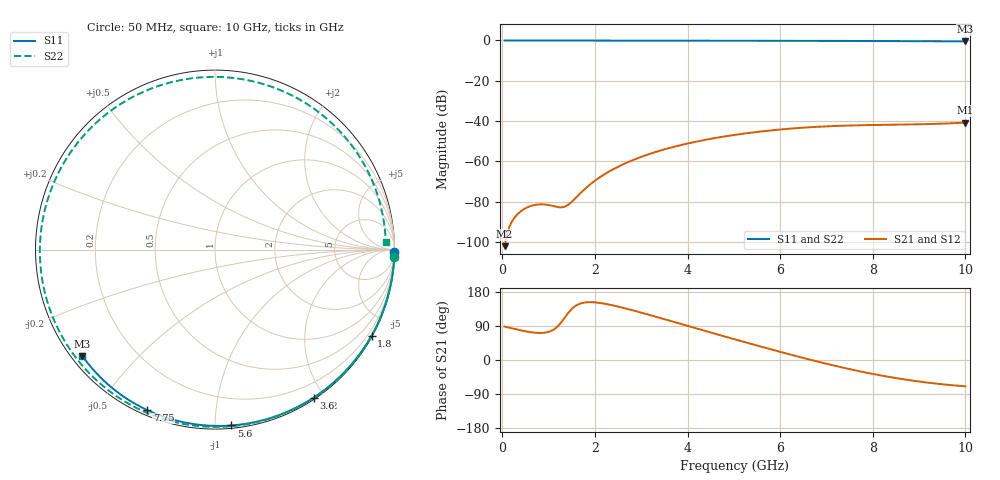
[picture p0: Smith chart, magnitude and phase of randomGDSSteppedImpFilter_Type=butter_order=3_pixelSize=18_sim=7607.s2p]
! freq	dB(S11)	phase(S11)	dB(S12)	phase(S12)
!  dB(S21)	phase(S21)	dB(S22)	phase(S22)
!S-par simulation data
#  GHz  S  DB  R 50
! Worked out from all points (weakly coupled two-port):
!   200 points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, 50 MHz to 10 GHz, reference 50 ohm
!   highest |S21| = -40.74 dB at 10 GHz (marker M1); lowest = -102.1 dB at 50 MHz (marker M2)
!   lowest |S11| = -0.5 dB at 10 GHz (marker M3), VSWR 36.88, Z = 1.52 - j17.6 ohm
!   |S11| at or under -10 dB: nowhere
!   |S22| runs from -0.4 to 0.0 dB; largest |S21 - S12| = 0
!   S11 on the Smith chart (normalised r, x): 50 MHz: open; 1.8 GHz: 0.03, -3.89; 3.6 GHz: 0.02, -1.87; 5.6 GHz: 0.02, -1.10; 7.75 GHz: 0.02, -0.66; 10 GHz: 0.03, -0.35
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0.05  -0.00 -0.8  -102.08 88.2  -102.08 88.2  -0.00 -2.4
0.35  -0.01 -5.7  -85.73 79.6  -85.73 79.6  -0.02 -16.4
0.7  -0.01 -11.3  -81.63 72.0  -81.63 72.0  -0.04 -32.5
1.1  -0.02 -17.7  -82.16 79.6  -82.16 79.6  -0.06 -50.5
1.5  -0.03 -24.1  -80.05 134.7  -80.05 134.7  -0.08 -67.8
1.75  -0.04 -28.1  -74.39 151.0  -74.39 151.0  -0.09 -78.3
1.8  -0.04 -28.8  -73.34 152.0  -73.34 152.0  -0.10 -80.4
2.1  -0.04 -33.5  -67.98 150.7  -67.98 150.7  -0.11 -92.5
2.45  -0.05 -39.0  -63.24 142.5  -63.24 142.5  -0.12 -106.1
2.9  -0.06 -45.8  -58.63 128.4  -58.63 128.4  -0.14 -122.8
3.4  -0.07 -53.4  -54.72 111.2  -54.72 111.2  -0.16 -140.6
3.6  -0.08 -56.3  -53.42 104.2  -53.42 104.2  -0.17 -147.5
4.3  -0.09 -66.5  -49.68 79.5  -49.68 79.5  -0.20 -171.1
5.05  -0.12 -77.2  -46.75 53.5  -46.75 53.5  -0.24 164.3
5.6  -0.14 -84.7  -45.13 34.8  -45.13 34.8  -0.26 146.3
6.15  -0.16 -92.1  -43.88 16.6  -43.88 16.6  -0.29 128.2
6.7  -0.19 -99.4  -42.98 -0.9  -42.98 -0.9  -0.31 109.9
7.25  -0.23 -106.5  -42.39 -17.2  -42.39 -17.2  -0.33 91.5
7.75  -0.26 -112.9  -42.07 -30.7  -42.07 -30.7  -0.35 74.7
8.35  -0.31 -120.5  -41.84 -44.6  -41.84 -44.6  -0.36 54.6
9.2  -0.38 -131.2  -41.49 -59.9  -41.49 -59.9  -0.39 27.0
10  -0.47 -141.2  -40.74 -69.4  -40.74 -69.4  -0.43 2.6
